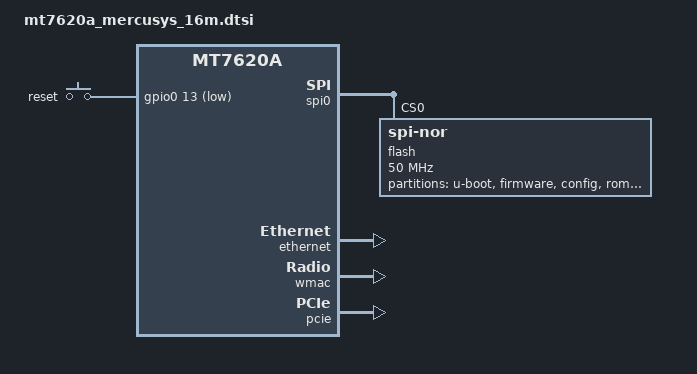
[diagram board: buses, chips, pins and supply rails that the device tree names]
#include "mt7620a.dtsi"

#include <dt-bindings/input/input.h>
#include <dt-bindings/gpio/gpio.h>

/ {
	chosen {
		bootargs = "console=ttyS0,115200";
	};

	keys {
		compatible = "gpio-keys";

		reset {
			label = "reset";
			gpios = <&gpio0 13 GPIO_ACTIVE_LOW>;
			linux,code = <KEY_RESTART>;
		};
	};
};

&gpio1 {
	status = "okay";
};

&gpio2 {
	status = "okay";
};

&gpio3 {
	status = "okay";
};

&spi0 {
	status = "okay";

	flash@0 {
		compatible = "jedec,spi-nor";
		reg = <0>;
		spi-max-frequency = <50000000>;

		partitions {
			compatible = "fixed-partitions";
			#address-cells = <1>;
			#size-cells = <1>;

			partition@0 {
				label = "u-boot";
				reg = <0x0 0x20000>;
				read-only;
			};

			partition@20000 {
				compatible = "tplink,firmware";
				label = "firmware";
				reg = <0x20000 0xfa0000>;
			};

			partition@fc0000 {
				label = "config";
				reg = <0xfc0000 0x10000>;
				read-only;
			};

			partition@fd0000 {
				label = "rom";
				reg = <0xfd0000 0x10000>;
				read-only;

				nvmem-layout {
					compatible = "fixed-layout";
					#address-cells = <1>;
					#size-cells = <1>;

					macaddr_rom_f100: macaddr@f100 {
						compatible = "mac-base";
						reg = <0xf100 0x6>;
						#nvmem-cell-cells = <1>;
					};
				};
			};

			partition@fe0000 {
				label = "romfile";
				reg = <0xfe0000 0x10000>;
				read-only;
			};

			partition@ff0000 {
				label = "radio";
				reg = <0xff0000 0x10000>;
				read-only;

				nvmem-layout {
					compatible = "fixed-layout";
					#address-cells = <1>;
					#size-cells = <1>;

					eeprom_radio_0: eeprom@0 {
						reg = <0x0 0x200>;
					};

					eeprom_radio_8000: eeprom@8000 {
						reg = <0x8000 0x4da8>;
					};
				};
			};
		};
	};
};

&ethernet {
	status = "okay";
	pinctrl-names = "default";

	nvmem-cells = <&macaddr_rom_f100 0>;
	nvmem-cell-names = "mac-address";

	mediatek,portmap = "llllw";
};

&ehci {
	status = "disabled";
};

&ohci {
	status = "disabled";
};

&wmac {
	status = "okay";
};

&pcie {
	status = "okay";
};
